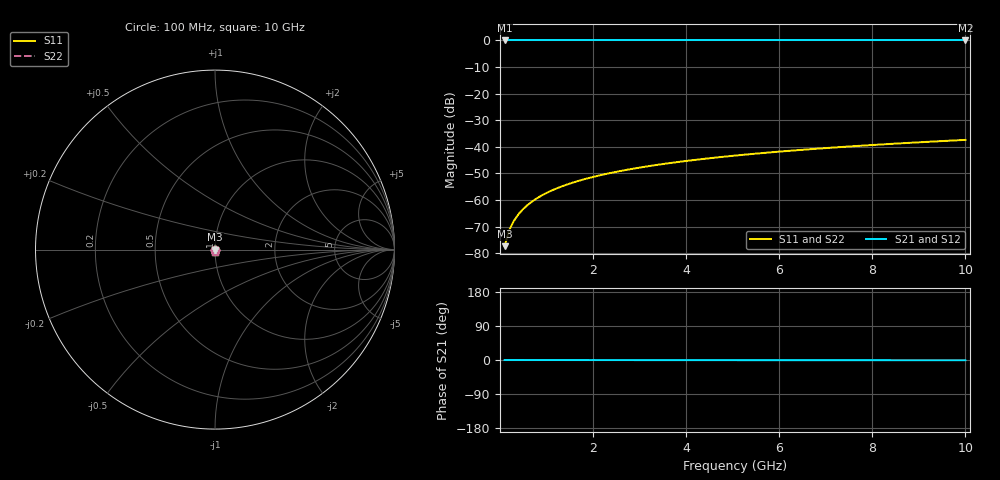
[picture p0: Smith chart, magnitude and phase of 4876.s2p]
# Hz S RI R 50.00
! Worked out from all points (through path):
!   100 points, 100 MHz to 10 GHz, reference 50 ohm
!   highest |S21| = 0.00 dB at 100 MHz (marker M1); lowest = 0.0 dB at 10 GHz (marker M2)
!   lowest |S11| = -77.3 dB at 100 MHz (marker M3), VSWR 1.00, Z = 50 - j0.0136 ohm
!   |S11| at or under -10 dB: start of sweep to end of sweep
!   |S22| runs from -77.3 to -37.4 dB; largest |S21 - S12| = 0
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1e8  -3.98e-07 -0.000136  1 -0.000138  1 -0.000138  -3.98e-07 -0.000136
2e8  -5.88e-07 -0.000272  1 -0.000275  1 -0.000275  -5.88e-07 -0.000272
3e8  -8.17e-07 -0.000408  1 -0.000413  1 -0.000413  -8.17e-07 -0.000408
4e8  -1.08e-06 -0.000544  1 -0.000551  1 -0.000551  -1.08e-06 -0.000544
5e8  -1.39e-06 -0.00068  1 -0.000689  1 -0.000689  -1.39e-06 -0.00068
6e8  -1.73e-06 -0.000816  1 -0.000826  1 -0.000826  -1.73e-06 -0.000816
7e8  -2.11e-06 -0.000952  1 -0.000964  1 -0.000964  -2.11e-06 -0.000952
8e8  -2.52e-06 -0.00109  1 -0.0011  1 -0.0011  -2.52e-06 -0.00109
9e8  -2.97e-06 -0.00122  1 -0.00124  1 -0.00124  -2.97e-06 -0.00122
1.1e9  -3.99e-06 -0.0015  1 -0.00151  1 -0.00151  -3.99e-06 -0.0015
1.4e9  -5.8e-06 -0.0019  1 -0.00193  1 -0.00193  -5.8e-06 -0.0019
1.8e9  -8.74e-06 -0.00245  1 -0.00248  1 -0.00248  -8.74e-06 -0.00245
2.1e9  -1.13e-05 -0.00286  1 -0.00289  1 -0.00289  -1.13e-05 -0.00286
2.5e9  -1.53e-05 -0.0034  1 -0.00344  1 -0.00344  -1.53e-05 -0.0034
2.9e9  -1.99e-05 -0.00394  1 -0.00399  1 -0.00399  -1.99e-05 -0.00394
3.4e9  -2.64e-05 -0.00462  1 -0.00468  1 -0.00468  -2.64e-05 -0.00462
4.2e9  -3.88e-05 -0.0057  1 -0.00577  1 -0.00577  -3.88e-05 -0.0057
5.1e9  -5.56e-05 -0.00692  0.9999 -0.00701  0.9999 -0.00701  -5.56e-05 -0.00692
5.9e9  -7.31e-05 -0.008  0.9999 -0.0081  0.9999 -0.0081  -7.31e-05 -0.008
6.7e9  -9.28e-05 -0.00908  0.9999 -0.0092  0.9999 -0.0092  -9.28e-05 -0.00908
8.4e9  -0.000143 -0.0114  0.9999 -0.0115  0.9999 -0.0115  -0.000143 -0.0114
1e10  -0.000199 -0.0135  0.9998 -0.0137  0.9998 -0.0137  -0.000199 -0.0135
